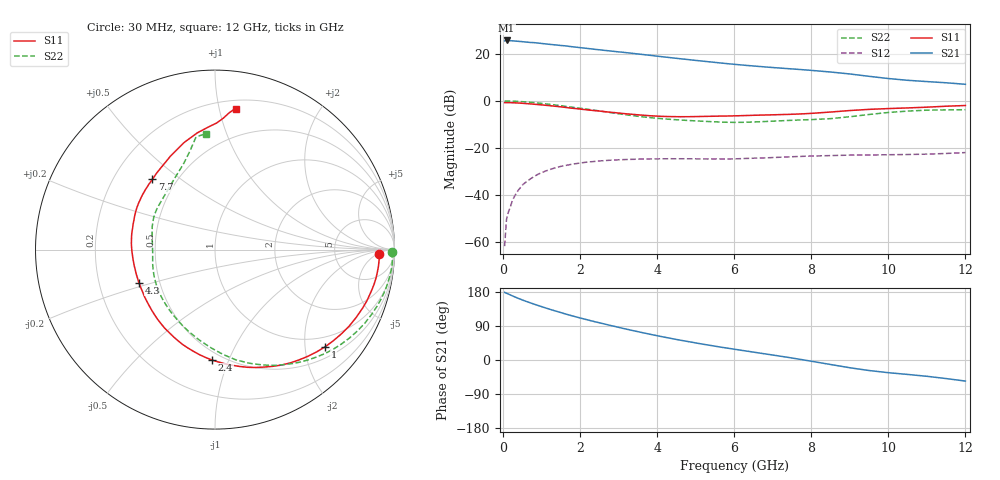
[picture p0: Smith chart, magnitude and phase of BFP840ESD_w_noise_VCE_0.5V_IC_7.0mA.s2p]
! Infineon Technologies  Discrete & RF Semiconductors
! BFP840ESD
! VCE =  0.5 V,  IC =  7.0 mA
! Common Emitter S-Parameters:  May 2012
# GHz  S  MA  R  50
!  f  S11  S21  S12  S22
! GHz  MAG  ANG  MAG  ANG  MAG  ANG  MAG  ANG
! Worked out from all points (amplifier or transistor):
!   93 points, 30 MHz to 12 GHz, reference 50 ohm
!   highest |S21| = 25.7 dB at 80 MHz (marker M1)
!   |S21| within 3 dB of that: start of sweep to 1.96 GHz
!   unconditionally stable (mu >= 1): 5.76 GHz to 11.17 GHz
!   at 1.1 GHz: K = 0.22, MSG = 27.1 dB, |S12| = -29.9 dB
!   at 4.2 GHz: K = 0.71, MSG = 21.7 dB, |S12| = -24.7 dB
!   at 12 GHz: K = 0.87, MSG = 14.6 dB, |S12| = -22.1 dB
!   lowest NFmin = 0.68 dB at 450 MHz
!   S11 on the Smith chart (normalised r, x): 30 MHz: 21, -6; 1 GHz: 0.75, -2.44; 2.4 GHz: 0.44, -0.87; 4.3 GHz: 0.38, -0.18; 7.7 GHz: 0.37, +0.40; 12 GHz: 0.26, +1.12
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0.03  0.9166 -1.4  18.94 178.5  0.0008 41.2  0.9866 -0.8
0.08  0.9164 -3.6  19.33 176.1  0.003 67.5  0.9896 -2.8
0.28  0.907 -12.3  18.87 167.2  0.009 80.0  0.9807 -10.8
0.5  0.8847 -21.6  18.17 158.1  0.0163 74.8  0.9571 -19.1
0.8  0.8463 -33.7  17.35 147.2  0.0245 65.7  0.9136 -29.8
1  0.8181 -41.5  16.65 140.5  0.0297 60.7  0.8794 -36.7
1.3  0.7726 -52.7  15.67 130.9  0.0364 53.4  0.824 -46.5
1.6  0.725 -63.8  14.86 121.8  0.0417 46.7  0.7668 -55.9
2.1  0.652 -81.4  13.29 108.0  0.0486 36.9  0.6756 -70.7
2.4  0.6155 -91.6  12.44 100.4  0.0515 32.0  0.6251 -79.3
2.8  0.5689 -105.3  11.47 90.7  0.0544 26.3  0.5581 -90.3
3.3  0.52 -122.5  10.38 79.0  0.0566 20.2  0.4899 -104.8
3.7  0.4884 -136.2  9.538 70.3  0.0576 16.2  0.4475 -116.9
4.1  0.4669 -150.0  8.749 61.9  0.0584 12.3  0.4169 -129.1
4.3  0.4622 -156.6  8.387 58.0  0.0584 10.6  0.4051 -135.1
5.2  0.4654 177.9  6.979 41.4  0.058 5.6  0.3664 -158.9
6.1  0.4806 160.0  5.892 26.9  0.0583 3.7  0.3482 179.7
7.7  0.5253 131.7  4.652 1.9  0.0652 -1.3  0.3904 148.8
8.5  0.5772 115.4  4.109 -11.9  0.0681 -5.3  0.4175 130.7
9.5  0.6579 98.6  3.325 -27.8  0.0701 -10.8  0.5118 109.8
10.5  0.7058 89.2  2.737 -38.1  0.0718 -14.4  0.6038 101.6
12  0.7943 81.7  2.25 -55.6  0.0789 -18.7  0.6468 94.4
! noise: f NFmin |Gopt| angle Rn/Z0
0.45  0.68  0.39  1  0.16
0.9  0.7  0.39  5  0.15
1.5  0.71  0.38  13  0.15
1.9  0.73  0.38  17  0.14
2.4  0.74  0.33  28  0.13
3.5  0.77  0.24  56  0.11
5.5  0.86  0.16  126  0.1
8  1.02  0.31  -139  0.09
10  1.18  0.47  -97  0.16
12  1.39  0.59  -75  0.26
